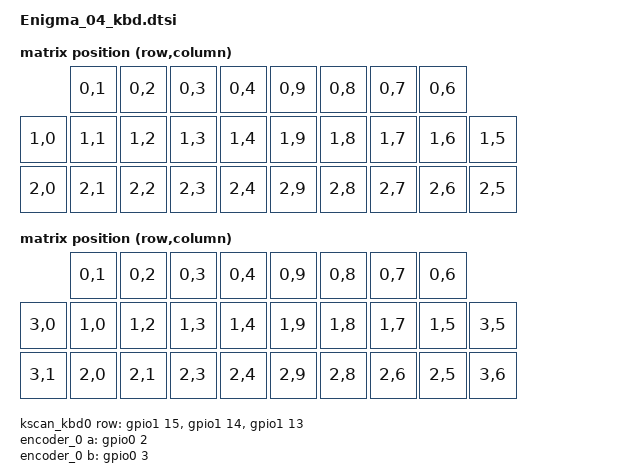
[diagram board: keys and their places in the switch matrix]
#include <dt-bindings/zmk/matrix_transform.h>
#include "Enigma_04_kbd_layouts.dtsi"

/ {
    chosen {
        zmk,physical-layout = &layout_kbd0;
    };
};

/ {
    transform_kbd0: transform_kbd0 {
        compatible = "zmk,matrix-transform";
        columns = <10>;
        rows = <3>;               
        map = <
                    RC(0,1) RC(0,2) RC(0,3) RC(0,4)     RC(0,9) RC(0,8) RC(0,7) RC(0,6)
            RC(1,0) RC(1,1) RC(1,2) RC(1,3) RC(1,4)     RC(1,9) RC(1,8) RC(1,7) RC(1,6) RC(1,5)
            RC(2,0) RC(2,1) RC(2,2) RC(2,3) RC(2,4)     RC(2,9) RC(2,8) RC(2,7) RC(2,6) RC(2,5)
        >;
    };

    transform_kbd1: transform_kbd1 {
        compatible = "zmk,matrix-transform";
        columns = <10>;
        rows = <4>;               
        map = <
                    RC(0,1) RC(0,2) RC(0,3) RC(0,4)       RC(0,9) RC(0,8) RC(0,7) RC(0,6)
            RC(3,0) RC(1,0) RC(1,2) RC(1,3) RC(1,4)       RC(1,9) RC(1,8) RC(1,7) RC(1,5) RC(3,5)
            RC(3,1) RC(2,0) RC(2,1) RC(2,3) RC(2,4)       RC(2,9) RC(2,8) RC(2,6) RC(2,5) RC(3,6)
        >;
    };

    kscan_kbd0: kscan_kbd0 {
        compatible = "zmk,kscan-gpio-matrix";
        diode-direction = "col2row";
        wakeup-source;
            row-gpios
                = <&gpio1 15 (GPIO_ACTIVE_HIGH | GPIO_PULL_DOWN)>,
                  <&gpio1 14 (GPIO_ACTIVE_HIGH | GPIO_PULL_DOWN)>,
                  <&gpio1 13 (GPIO_ACTIVE_HIGH | GPIO_PULL_DOWN)>;
    };

    kscan_kbd1: kscan_kbd1 {
        compatible = "zmk,kscan-gpio-charlieplex";
        wakeup-source;
        interrupt-gpios = <&gpio1 11 (GPIO_ACTIVE_HIGH | GPIO_PULL_DOWN)>;
    };

    encoder_0: encoder_0 {
        compatible = "alps,ec11";
        a-gpios = <&gpio0 2 (GPIO_ACTIVE_HIGH | GPIO_PULL_UP)>;
        b-gpios = <&gpio0 3 (GPIO_ACTIVE_HIGH | GPIO_PULL_UP)>;
        steps = <12>;
        status = "disabled";
    };

    sensors_0: sensors_0 {
        compatible = "zmk,keymap-sensors";
        sensors = <&encoder_0>;
        triggers-per-rotation = <12>;
    };
};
